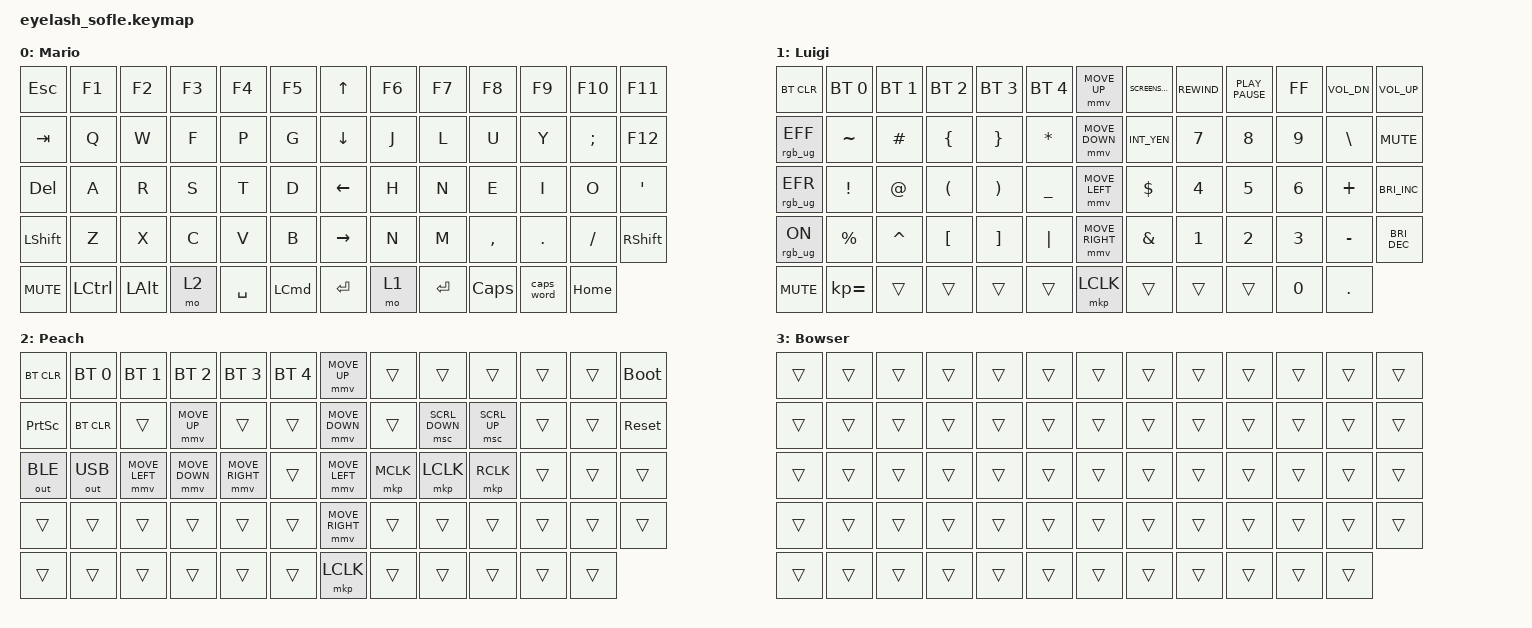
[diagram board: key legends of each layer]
#define ZMK_POINTING_DEFAULT_MOVE_VAL 1200  // 600
#define ZMK_POINTING_DEFAULT_SCRL_VAL 25   // 10

#include <input/processors.dtsi>
#include <zephyr/dt-bindings/input/input-event-codes.h>
#include <behaviors.dtsi>
#include <dt-bindings/zmk/bt.h>
#include <dt-bindings/zmk/keys.h>
#include <dt-bindings/zmk/outputs.h>
#include <dt-bindings/zmk/pointing.h>
#include <dt-bindings/zmk/rgb.h>

&mmv_input_listener { input-processors = <&zip_xy_scaler 2 1>; };

&msc_input_listener { input-processors = <&zip_scroll_scaler 2 1>; };

&msc {
    acceleration-exponent = <1>;      // 0
    time-to-max-speed-ms = <100>;       // 300
    delay-ms = <0>;                   // 0
};

&mmv {
    time-to-max-speed-ms = <500>;
    acceleration-exponent = <1>;
    trigger-period-ms = <16>;
};

/ {
    scroll_encoder: scroll_encoder {
        compatible = "zmk,behavior-sensor-rotate";
        #sensor-binding-cells = <0>;
        bindings = <&msc SCRL_DOWN>, <&msc SCRL_UP>;

        tap-ms = <100>;
    };

    behaviors {
    };

    keymap {
        compatible = "zmk,keymap";

        Mario {
            bindings = <
&kp ESC     &kp F1     &kp F2        &kp F3  &kp F4     &kp F5              &kp UP_ARROW     &kp F6  &kp F7     &kp F8     &kp F9      &kp F10   &kp F11
&kp TAB     &kp Q      &kp W         &kp F   &kp P      &kp G               &kp DOWN_ARROW   &kp J   &kp L      &kp U      &kp Y       &kp SEMI  &kp F12
&kp DELETE  &kp A      &kp R         &kp S   &kp T      &kp D               &kp LEFT_ARROW   &kp H   &kp N      &kp E      &kp I       &kp O     &kp APOS
&kp LSHFT   &kp Z      &kp X         &kp C   &kp V      &kp B               &kp RIGHT_ARROW  &kp N   &kp M      &kp COMMA  &kp DOT     &kp FSLH  &kp RIGHT_SHIFT
&kp C_MUTE  &kp LCTRL  &kp LEFT_ALT  &mo 2   &kp SPACE  &kp LEFT_COMMAND    &kp ENTER        &mo 1   &kp ENTER  &kp CAPS   &caps_word  &kp HOME
            >;

            display-name = "Mario";
        };

        Luigi {
            bindings = <
&bt BT_CLR       &bt BT_SEL 0     &bt BT_SEL 1  &bt BT_SEL 2          &bt BT_SEL 3           &bt BT_SEL 4      &mmv MOVE_UP     &kp K_SCREENSAVER  &kp C_REWIND  &kp K_PLAY_PAUSE  &kp C_FF  &kp C_VOL_DN   &kp C_VOL_UP
&rgb_ug RGB_EFF  &kp TILDE        &kp HASH      &kp LEFT_BRACE        &kp RIGHT_BRACE        &kp ASTRK         &mmv MOVE_DOWN   &kp INT_YEN        &kp N7        &kp N8            &kp N9    &kp BACKSLASH  &kp K_MUTE
&rgb_ug RGB_EFR  &kp EXCLAMATION  &kp AT        &kp LEFT_PARENTHESIS  &kp RIGHT_PARENTHESIS  &kp UNDERSCORE    &mmv MOVE_LEFT   &kp DOLLAR         &kp N4        &kp N5            &kp N6    &kp PLUS       &kp C_BRIGHTNESS_INC
&rgb_ug RGB_ON   &kp PERCENT      &kp CARET     &kp LEFT_BRACKET      &kp RIGHT_BRACKET      &kp PIPE          &mmv MOVE_RIGHT  &kp AMPERSAND      &kp N1        &kp N2            &kp N3    &kp MINUS      &kp C_BRIGHTNESS_DEC
&kp C_MUTE       &kp KP_EQUAL     &trans        &trans                &trans                 &trans            &mkp LCLK        &trans             &trans        &trans            &kp N0    &kp DOT
            >;

            display-name = "Luigi";
        };

        Peach {
            bindings = <
&bt BT_CLR       &bt BT_SEL 0  &bt BT_SEL 1    &bt BT_SEL 2    &bt BT_SEL 3     &bt BT_SEL 4    &mmv MOVE_UP     &trans     &trans          &trans        &trans  &trans  &bootloader
&kp PRINTSCREEN  &bt BT_CLR    &trans          &mmv MOVE_UP    &trans           &trans          &mmv MOVE_DOWN   &trans     &msc SCRL_DOWN  &msc SCRL_UP  &trans  &trans  &sys_reset
&out OUT_BLE     &out OUT_USB  &mmv MOVE_LEFT  &mmv MOVE_DOWN  &mmv MOVE_RIGHT  &trans          &mmv MOVE_LEFT   &mkp MCLK  &mkp LCLK       &mkp RCLK     &trans  &trans  &trans
&trans           &trans        &trans          &trans          &trans           &trans          &mmv MOVE_RIGHT  &trans     &trans          &trans        &trans  &trans  &trans
&trans           &trans        &trans          &trans          &trans           &trans          &mkp LCLK        &trans     &trans          &trans        &trans  &trans
            >;

            label = "Peach";
        };

        Bowser {
            bindings = <
&trans  &trans  &trans  &trans  &trans  &trans    &trans  &trans  &trans  &trans  &trans  &trans  &trans
&trans  &trans  &trans  &trans  &trans  &trans    &trans  &trans  &trans  &trans  &trans  &trans  &trans
&trans  &trans  &trans  &trans  &trans  &trans    &trans  &trans  &trans  &trans  &trans  &trans  &trans
&trans  &trans  &trans  &trans  &trans  &trans    &trans  &trans  &trans  &trans  &trans  &trans  &trans
&trans  &trans  &trans  &trans  &trans  &trans    &trans  &trans  &trans  &trans  &trans  &trans
            >;

            label = "Bowser";
        };
    };
};
